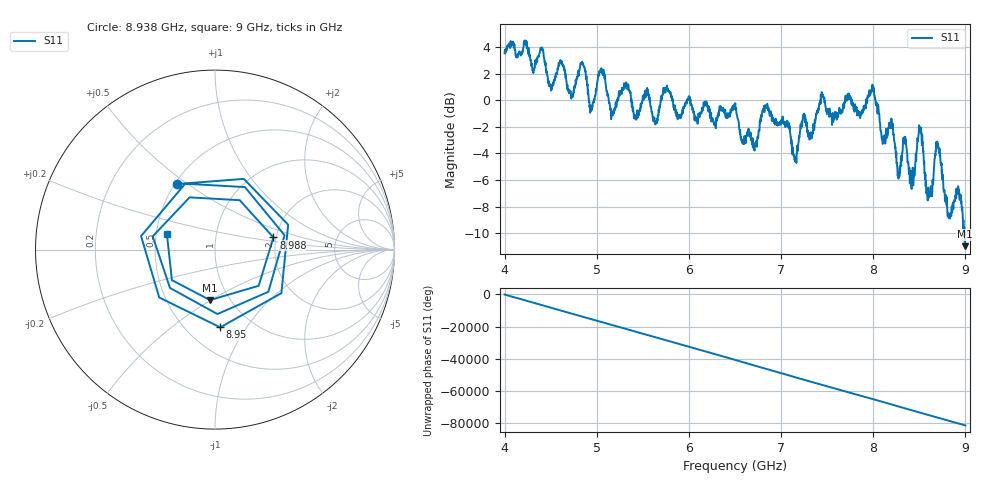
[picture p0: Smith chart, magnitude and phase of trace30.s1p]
! Created with skrf 1.8.0 (http://scikit-rf.org).
# Hz S RI R 50.0
!freq ReS11 ImS11
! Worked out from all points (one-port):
!   1601 points, 4 GHz to 9 GHz, reference 50 ohm
!   lowest |S11| = -11.0 dB at 8.994 GHz (marker M1), VSWR 1.79, Z = 40.5 - j24.8 ohm
!   |S11| at or under -10 dB: 8.982394 GHz to 8.985399 GHz (3.005 MHz wide, 0.0335 % of centre); 8.990938 GHz to end of sweep
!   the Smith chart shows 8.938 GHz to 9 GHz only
!   S11 on the Smith chart (normalised r, x): 8.938 GHz: 0.51, +0.46; 8.95 GHz: 0.72, -0.77; 8.988 GHz: 1.94, +0.29; 9 GHz: 0.57, +0.11
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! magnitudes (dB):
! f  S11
! 4 GHz  3.5
! 4.625 GHz  2.7
! 4.725 GHz  0.4
! 4.847 GHz  2.8
! 4.941 GHz  -0.8
! 5.05 GHz  2.4
! 5.162 GHz  -0.9
! 5.25 GHz  0.7
! 5.875 GHz  -1.3
! 6.5 GHz  -0.4
! 6.584 GHz  -3.3
! 6.841 GHz  -0.5
! 7.125 GHz  -3.5
! 7.444 GHz  0.5
! 7.75 GHz  0.2
! 7.997 GHz  1.0
! 8.272 GHz  -5.9
! 8.375 GHz  -4.6
! 8.422 GHz  -5.6
! 8.512 GHz  -2.4
! 8.594 GHz  -6.6
! 8.7 GHz  -3.2
! 8.822 GHz  -8.9
! 8.938 GHz  -7.5
! 8.95 GHz  -7.2
! 8.988 GHz  -9.6
! 8.994 GHz  -11.0
! 9 GHz  -11.0
